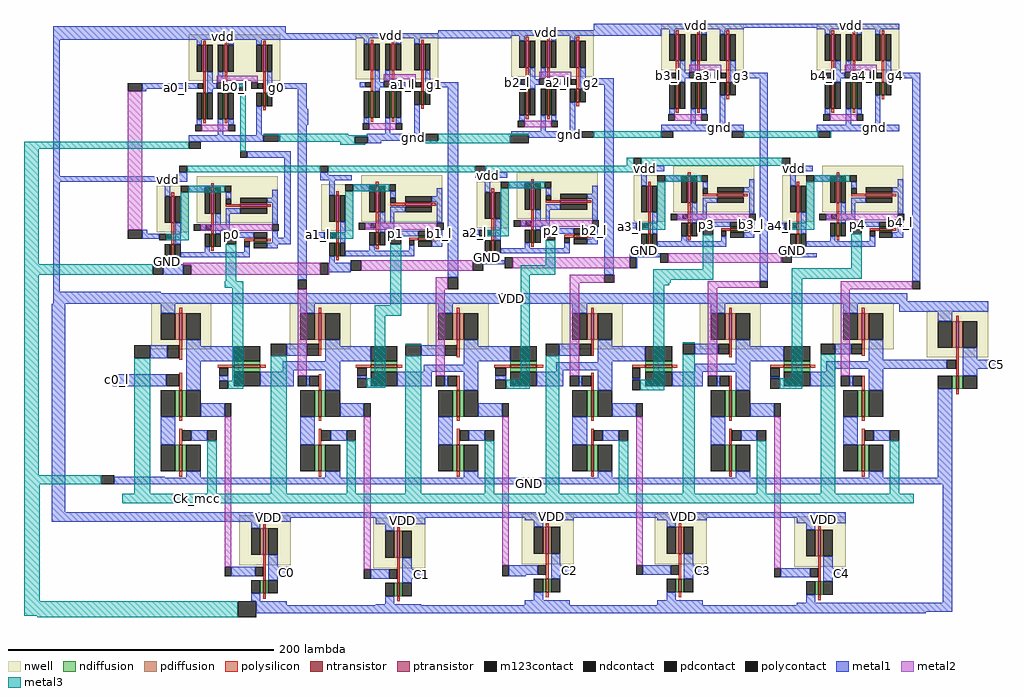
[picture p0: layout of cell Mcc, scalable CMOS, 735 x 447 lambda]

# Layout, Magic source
magic
tech scmos
<< nwell >>
rect -81 201 -12 236
rect 45 202 107 237
rect 162 204 224 239
rect 275 209 337 244
rect 392 209 454 244
rect -105 87 -81 122
rect -75 94 -14 129
rect 19 88 43 123
rect 49 95 110 130
rect 136 90 160 125
rect 166 97 227 132
rect 254 95 278 130
rect 284 102 345 137
rect 366 95 390 130
rect 396 102 457 137
rect -109 -1 -64 34
rect -5 -1 41 34
rect 99 -1 145 34
rect 200 -1 246 34
rect 304 -1 350 34
rect 404 -1 450 34
rect 475 -7 521 28
rect -43 -164 -4 -126
rect 58 -166 97 -128
rect 170 -163 209 -125
rect 270 -163 309 -125
rect 375 -165 414 -127
<< ntransistor >>
rect -70 172 -68 192
rect -54 172 -52 192
rect -25 182 -23 192
rect 56 173 58 193
rect 72 173 74 193
rect 94 183 96 193
rect 173 175 175 195
rect 189 175 191 195
rect 211 185 213 195
rect 286 180 288 200
rect 302 180 304 200
rect 324 190 326 200
rect 403 180 405 200
rect 419 180 421 200
rect 441 190 443 200
rect -94 68 -92 78
rect -64 76 -62 86
rect -32 80 -22 82
rect 30 69 32 79
rect 60 77 62 87
rect 92 81 102 83
rect 147 71 149 81
rect 177 79 179 89
rect 209 83 219 85
rect 265 76 267 86
rect 295 84 297 94
rect 327 88 337 90
rect 377 76 379 86
rect 407 84 409 94
rect 439 88 449 90
rect -47 -15 -27 -13
rect 56 -15 76 -13
rect 161 -15 181 -13
rect 263 -15 283 -13
rect 367 -15 387 -13
rect 497 -31 499 -21
rect -88 -52 -86 -32
rect 17 -52 19 -32
rect 121 -52 123 -32
rect 222 -52 224 -32
rect 326 -52 328 -32
rect 426 -52 428 -32
rect -88 -93 -86 -73
rect 17 -93 19 -73
rect 121 -93 123 -73
rect 222 -93 224 -73
rect 326 -93 328 -73
rect 426 -93 428 -73
rect -25 -185 -23 -175
rect 76 -187 78 -177
rect 188 -184 190 -174
rect 288 -184 290 -174
rect 393 -186 395 -176
<< ptransistor >>
rect -70 208 -68 228
rect -54 208 -52 228
rect -25 208 -23 228
rect 56 209 58 229
rect 72 209 74 229
rect 94 209 96 229
rect 173 211 175 231
rect 189 211 191 231
rect 211 211 213 231
rect 286 216 288 236
rect 302 216 304 236
rect 324 216 326 236
rect 403 216 405 236
rect 419 216 421 236
rect 441 216 443 236
rect -94 94 -92 114
rect -64 101 -62 121
rect -42 106 -22 108
rect 30 95 32 115
rect 60 102 62 122
rect 82 107 102 109
rect 147 97 149 117
rect 177 104 179 124
rect 199 109 219 111
rect 265 102 267 122
rect 295 109 297 129
rect 317 114 337 116
rect 377 102 379 122
rect 407 109 409 129
rect 429 114 449 116
rect -88 6 -86 26
rect 17 6 19 26
rect 121 6 123 26
rect 222 6 224 26
rect 326 6 328 26
rect 426 6 428 26
rect 497 0 499 20
rect -25 -156 -23 -136
rect 76 -158 78 -138
rect 188 -155 190 -135
rect 288 -155 290 -135
rect 393 -157 395 -137
<< ndiffusion >>
rect -71 172 -70 192
rect -68 172 -67 192
rect -55 172 -54 192
rect -52 172 -51 192
rect -26 182 -25 192
rect -23 182 -22 192
rect 55 173 56 193
rect 58 173 59 193
rect 71 173 72 193
rect 74 173 75 193
rect 93 183 94 193
rect 96 183 97 193
rect 172 175 173 195
rect 175 175 176 195
rect 188 175 189 195
rect 191 175 192 195
rect 210 185 211 195
rect 213 185 214 195
rect 285 180 286 200
rect 288 180 289 200
rect 301 180 302 200
rect 304 180 305 200
rect 323 190 324 200
rect 326 190 327 200
rect 402 180 403 200
rect 405 180 406 200
rect 418 180 419 200
rect 421 180 422 200
rect 440 190 441 200
rect 443 190 444 200
rect -95 68 -94 78
rect -92 68 -91 78
rect -65 76 -64 86
rect -62 76 -61 86
rect -32 82 -22 83
rect -32 79 -22 80
rect 29 69 30 79
rect 32 69 33 79
rect 59 77 60 87
rect 62 77 63 87
rect 92 83 102 84
rect 92 80 102 81
rect 146 71 147 81
rect 149 71 150 81
rect 176 79 177 89
rect 179 79 180 89
rect 209 85 219 86
rect 209 82 219 83
rect 264 76 265 86
rect 267 76 268 86
rect 294 84 295 94
rect 297 84 298 94
rect 327 90 337 91
rect 327 87 337 88
rect 376 76 377 86
rect 379 76 380 86
rect 406 84 407 94
rect 409 84 410 94
rect 439 90 449 91
rect 439 87 449 88
rect -47 -13 -27 -10
rect 56 -13 76 -10
rect 161 -13 181 -10
rect 263 -13 283 -10
rect 367 -13 387 -10
rect -47 -18 -27 -15
rect 56 -18 76 -15
rect 161 -18 181 -15
rect 263 -18 283 -15
rect 367 -18 387 -15
rect 494 -31 497 -21
rect 499 -31 502 -21
rect -91 -52 -88 -32
rect -86 -52 -83 -32
rect 14 -52 17 -32
rect 19 -52 22 -32
rect 118 -52 121 -32
rect 123 -52 126 -32
rect 219 -52 222 -32
rect 224 -52 227 -32
rect 323 -52 326 -32
rect 328 -52 331 -32
rect 423 -52 426 -32
rect 428 -52 431 -32
rect -91 -93 -88 -73
rect -86 -93 -83 -73
rect 14 -93 17 -73
rect 19 -93 22 -73
rect 118 -93 121 -73
rect 123 -93 126 -73
rect 219 -93 222 -73
rect 224 -93 227 -73
rect 323 -93 326 -73
rect 328 -93 331 -73
rect 423 -93 426 -73
rect 428 -93 431 -73
rect -27 -185 -25 -175
rect -23 -185 -21 -175
rect 74 -187 76 -177
rect 78 -187 80 -177
rect 186 -184 188 -174
rect 190 -184 192 -174
rect 286 -184 288 -174
rect 290 -184 292 -174
rect 391 -186 393 -176
rect 395 -186 397 -176
<< pdiffusion >>
rect -71 208 -70 228
rect -68 208 -67 228
rect -55 208 -54 228
rect -52 208 -51 228
rect -26 208 -25 228
rect -23 208 -22 228
rect 55 209 56 229
rect 58 209 59 229
rect 71 209 72 229
rect 74 209 75 229
rect 93 209 94 229
rect 96 209 97 229
rect 172 211 173 231
rect 175 211 176 231
rect 188 211 189 231
rect 191 211 192 231
rect 210 211 211 231
rect 213 211 214 231
rect 285 216 286 236
rect 288 216 289 236
rect 301 216 302 236
rect 304 216 305 236
rect 323 216 324 236
rect 326 216 327 236
rect 402 216 403 236
rect 405 216 406 236
rect 418 216 419 236
rect 421 216 422 236
rect 440 216 441 236
rect 443 216 444 236
rect -95 94 -94 114
rect -92 94 -91 114
rect -65 101 -64 121
rect -62 101 -61 121
rect -42 108 -22 109
rect -42 105 -22 106
rect 29 95 30 115
rect 32 95 33 115
rect 59 102 60 122
rect 62 102 63 122
rect 82 109 102 110
rect 82 106 102 107
rect 146 97 147 117
rect 149 97 150 117
rect 176 104 177 124
rect 179 104 180 124
rect 199 111 219 112
rect 199 108 219 109
rect 264 102 265 122
rect 267 102 268 122
rect 294 109 295 129
rect 297 109 298 129
rect 317 116 337 117
rect 317 113 337 114
rect 376 102 377 122
rect 379 102 380 122
rect 406 109 407 129
rect 409 109 410 129
rect 429 116 449 117
rect 429 113 449 114
rect -91 6 -88 26
rect -86 6 -83 26
rect 14 6 17 26
rect 19 6 22 26
rect 118 6 121 26
rect 123 6 126 26
rect 219 6 222 26
rect 224 6 227 26
rect 323 6 326 26
rect 328 6 331 26
rect 423 6 426 26
rect 428 6 431 26
rect 494 0 497 20
rect 499 0 502 20
rect -27 -156 -25 -136
rect -23 -156 -21 -136
rect 74 -158 76 -138
rect 78 -158 80 -138
rect 186 -155 188 -135
rect 190 -155 192 -135
rect 286 -155 288 -135
rect 290 -155 292 -135
rect 391 -157 393 -137
rect 395 -157 397 -137
<< ndcontact >>
rect -75 172 -71 192
rect -67 172 -63 192
rect -59 172 -55 192
rect -51 172 -47 192
rect -30 182 -26 192
rect -22 182 -18 192
rect 51 173 55 193
rect 59 173 63 193
rect 67 173 71 193
rect 75 173 79 193
rect 89 183 93 193
rect 97 183 101 193
rect 168 175 172 195
rect 176 175 180 195
rect 184 175 188 195
rect 192 175 196 195
rect 206 185 210 195
rect 214 185 218 195
rect 281 180 285 200
rect 289 180 293 200
rect 297 180 301 200
rect 305 180 309 200
rect 319 190 323 200
rect 327 190 331 200
rect 398 180 402 200
rect 406 180 410 200
rect 414 180 418 200
rect 422 180 426 200
rect 436 190 440 200
rect 444 190 448 200
rect -99 68 -95 78
rect -91 68 -87 78
rect -69 76 -65 86
rect -61 76 -57 86
rect -32 83 -22 87
rect -32 75 -22 79
rect 25 69 29 79
rect 33 69 37 79
rect 55 77 59 87
rect 63 77 67 87
rect 92 84 102 88
rect 92 76 102 80
rect 142 71 146 81
rect 150 71 154 81
rect 172 79 176 89
rect 180 79 184 89
rect 209 86 219 90
rect 209 78 219 82
rect 260 76 264 86
rect 268 76 272 86
rect 290 84 294 94
rect 298 84 302 94
rect 327 91 337 95
rect 327 83 337 87
rect 372 76 376 86
rect 380 76 384 86
rect 402 84 406 94
rect 410 84 414 94
rect 439 91 449 95
rect 439 83 449 87
rect -47 -10 -27 1
rect 56 -10 76 1
rect 161 -10 181 1
rect 263 -10 283 1
rect 367 -10 387 1
rect -47 -29 -27 -18
rect 56 -29 76 -18
rect 161 -29 181 -18
rect 263 -29 283 -18
rect 367 -29 387 -18
rect 483 -31 494 -21
rect 502 -31 513 -21
rect -102 -52 -91 -32
rect -83 -52 -72 -32
rect 3 -52 14 -32
rect 22 -52 33 -32
rect 107 -52 118 -32
rect 126 -52 137 -32
rect 208 -52 219 -32
rect 227 -52 238 -32
rect 312 -52 323 -32
rect 331 -52 342 -32
rect 412 -52 423 -32
rect 431 -52 442 -32
rect -102 -93 -91 -73
rect -83 -93 -72 -73
rect 3 -93 14 -73
rect 22 -93 33 -73
rect 107 -93 118 -73
rect 126 -93 137 -73
rect 208 -93 219 -73
rect 227 -93 238 -73
rect 312 -93 323 -73
rect 331 -93 342 -73
rect 412 -93 423 -73
rect 431 -93 442 -73
rect -34 -185 -27 -175
rect -21 -185 -14 -175
rect 67 -187 74 -177
rect 80 -187 87 -177
rect 179 -184 186 -174
rect 192 -184 199 -174
rect 279 -184 286 -174
rect 292 -184 299 -174
rect 384 -186 391 -176
rect 397 -186 404 -176
<< pdcontact >>
rect -75 208 -71 228
rect -67 208 -63 228
rect -59 208 -55 228
rect -51 208 -47 228
rect -30 208 -26 228
rect -22 208 -18 228
rect 51 209 55 229
rect 59 209 63 229
rect 67 209 71 229
rect 75 209 79 229
rect 89 209 93 229
rect 97 209 101 229
rect 168 211 172 231
rect 176 211 180 231
rect 184 211 188 231
rect 192 211 196 231
rect 206 211 210 231
rect 214 211 218 231
rect 281 216 285 236
rect 289 216 293 236
rect 297 216 301 236
rect 305 216 309 236
rect 319 216 323 236
rect 327 216 331 236
rect 398 216 402 236
rect 406 216 410 236
rect 414 216 418 236
rect 422 216 426 236
rect 436 216 440 236
rect 444 216 448 236
rect -99 94 -95 114
rect -91 94 -87 114
rect -69 101 -65 121
rect -61 101 -57 121
rect -42 109 -22 113
rect -42 101 -22 105
rect 25 95 29 115
rect 33 95 37 115
rect 55 102 59 122
rect 63 102 67 122
rect 82 110 102 114
rect 82 102 102 106
rect 142 97 146 117
rect 150 97 154 117
rect 172 104 176 124
rect 180 104 184 124
rect 199 112 219 116
rect 199 104 219 108
rect 260 102 264 122
rect 268 102 272 122
rect 290 109 294 129
rect 298 109 302 129
rect 317 117 337 121
rect 317 109 337 113
rect 372 102 376 122
rect 380 102 384 122
rect 402 109 406 129
rect 410 109 414 129
rect 429 117 449 121
rect 429 109 449 113
rect -102 6 -91 26
rect -83 6 -72 26
rect 3 6 14 26
rect 22 6 33 26
rect 107 6 118 26
rect 126 6 137 26
rect 208 6 219 26
rect 227 6 238 26
rect 312 6 323 26
rect 331 6 342 26
rect 412 6 423 26
rect 431 6 442 26
rect 483 0 494 20
rect 502 0 513 20
rect -34 -156 -27 -136
rect -21 -156 -14 -136
rect 67 -158 74 -138
rect 80 -158 87 -138
rect 179 -155 186 -135
rect 192 -155 199 -135
rect 279 -155 286 -135
rect 292 -155 299 -135
rect 384 -157 391 -137
rect 397 -157 404 -137
<< polysilicon >>
rect 286 236 288 239
rect 302 236 304 239
rect 324 236 326 239
rect 403 236 405 239
rect 419 236 421 239
rect 441 236 443 239
rect -70 228 -68 231
rect -54 228 -52 231
rect -25 228 -23 231
rect 56 229 58 232
rect 72 229 74 232
rect 94 229 96 232
rect 173 231 175 234
rect 189 231 191 234
rect 211 231 213 234
rect -70 192 -68 208
rect -54 192 -52 208
rect -25 192 -23 208
rect 56 193 58 209
rect 72 193 74 209
rect 94 193 96 209
rect 173 195 175 211
rect 189 195 191 211
rect 211 195 213 211
rect 286 200 288 216
rect 302 200 304 216
rect 324 200 326 216
rect 403 200 405 216
rect 419 200 421 216
rect 441 200 443 216
rect -25 179 -23 182
rect 94 180 96 183
rect 211 182 213 185
rect 324 187 326 190
rect 441 187 443 190
rect 286 177 288 180
rect 302 177 304 180
rect 403 177 405 180
rect 419 177 421 180
rect -70 169 -68 172
rect -54 169 -52 172
rect 56 170 58 173
rect 72 170 74 173
rect 173 172 175 175
rect 189 172 191 175
rect 295 129 297 132
rect 407 129 409 132
rect -64 121 -62 124
rect 60 122 62 125
rect 177 124 179 127
rect -94 114 -92 117
rect 30 115 32 118
rect -53 106 -42 108
rect -22 106 -19 108
rect -94 78 -92 94
rect -64 86 -62 101
rect 147 117 149 120
rect 71 107 82 109
rect 102 107 105 109
rect -39 80 -32 82
rect -22 80 -19 82
rect 30 79 32 95
rect 60 87 62 102
rect 265 122 267 125
rect 188 109 199 111
rect 219 109 222 111
rect -64 73 -62 76
rect 85 81 92 83
rect 102 81 105 83
rect 147 81 149 97
rect 177 89 179 104
rect 377 122 379 125
rect 306 114 317 116
rect 337 114 340 116
rect 60 74 62 77
rect 265 86 267 102
rect 295 94 297 109
rect 418 114 429 116
rect 449 114 452 116
rect 202 83 209 85
rect 219 83 222 85
rect 177 76 179 79
rect 320 88 327 90
rect 337 88 340 90
rect 295 81 297 84
rect 377 86 379 102
rect 407 94 409 109
rect 432 88 439 90
rect 449 88 452 90
rect 407 81 409 84
rect 265 73 267 76
rect 377 73 379 76
rect -94 65 -92 68
rect 30 66 32 69
rect 147 68 149 71
rect -88 26 -86 30
rect 17 26 19 30
rect 121 26 123 30
rect 222 26 224 30
rect 326 26 328 30
rect 426 26 428 30
rect 497 20 499 24
rect -88 -9 -86 6
rect 17 -6 19 6
rect 121 -7 123 6
rect 222 -6 224 6
rect 326 -7 328 6
rect 426 -6 428 6
rect -59 -15 -47 -13
rect -27 -15 -23 -13
rect 45 -15 56 -13
rect 76 -15 80 -13
rect 149 -15 161 -13
rect 181 -15 186 -13
rect 253 -15 263 -13
rect 283 -15 287 -13
rect 357 -15 367 -13
rect 387 -15 391 -13
rect -88 -32 -86 -19
rect 17 -32 19 -20
rect 121 -32 123 -21
rect 222 -32 224 -19
rect 326 -32 328 -21
rect 497 -21 499 0
rect 426 -32 428 -21
rect 497 -35 499 -31
rect -88 -55 -86 -52
rect 17 -55 19 -52
rect 121 -55 123 -52
rect 222 -55 224 -52
rect 326 -55 328 -52
rect 426 -55 428 -52
rect -88 -73 -86 -61
rect 17 -73 19 -61
rect 121 -73 123 -61
rect 222 -73 224 -61
rect 326 -73 328 -61
rect 426 -73 428 -61
rect -88 -97 -86 -93
rect 17 -97 19 -93
rect 121 -97 123 -93
rect 222 -97 224 -93
rect 326 -97 328 -93
rect 426 -97 428 -93
rect -25 -136 -23 -133
rect 188 -135 190 -132
rect 288 -135 290 -132
rect 76 -138 78 -135
rect -25 -175 -23 -156
rect 393 -137 395 -134
rect 76 -177 78 -158
rect 188 -174 190 -155
rect 288 -174 290 -155
rect -25 -189 -23 -185
rect 393 -176 395 -157
rect 76 -191 78 -187
rect 188 -188 190 -184
rect 288 -188 290 -184
rect 393 -190 395 -186
<< polycontact >>
rect -74 195 -70 199
rect -52 195 -48 199
rect -29 195 -25 199
rect 52 196 56 200
rect 74 196 78 200
rect 90 196 94 200
rect 169 198 173 202
rect 191 198 195 202
rect 207 198 211 202
rect 282 203 286 207
rect 304 203 308 207
rect 320 203 324 207
rect 399 203 403 207
rect 421 203 425 207
rect 437 203 441 207
rect -53 108 -49 112
rect -98 82 -94 86
rect -68 89 -64 93
rect 71 109 75 113
rect 26 83 30 87
rect -39 76 -35 80
rect 56 90 60 94
rect 188 111 192 115
rect 143 85 147 89
rect 173 92 177 96
rect 306 116 310 120
rect 261 90 265 94
rect 85 77 89 81
rect 291 97 295 101
rect 418 116 422 120
rect 202 79 206 83
rect 373 90 377 94
rect 320 84 324 88
rect 403 97 407 101
rect 432 84 436 88
rect -97 -8 -88 2
rect 8 -6 17 3
rect 112 -6 121 2
rect 213 -6 222 3
rect 318 -5 326 3
rect 418 -5 426 3
rect -98 -29 -88 -20
rect -58 -21 -51 -15
rect 10 -29 17 -21
rect 46 -21 53 -15
rect 150 -21 158 -15
rect 114 -29 121 -21
rect 215 -29 222 -21
rect 253 -23 259 -15
rect 319 -29 326 -21
rect 357 -22 364 -15
rect 490 -16 497 -9
rect 419 -29 426 -21
rect -86 -70 -79 -62
rect 19 -70 26 -62
rect 123 -70 130 -62
rect 224 -70 231 -62
rect 328 -70 335 -62
rect 428 -70 435 -62
rect -31 -172 -25 -165
rect 70 -174 76 -167
rect 182 -171 188 -164
rect 282 -171 288 -164
rect 387 -173 393 -166
<< metal1 >>
rect -183 237 -8 242
rect 224 241 454 244
rect 224 240 337 241
rect 392 240 454 241
rect 224 239 275 240
rect 107 237 275 239
rect -183 235 275 237
rect 281 236 285 240
rect 305 236 309 240
rect -183 233 162 235
rect -183 232 45 233
rect -183 129 -178 232
rect -75 228 -71 232
rect -51 228 -47 232
rect -67 199 -63 208
rect -30 228 -26 232
rect 51 229 55 233
rect 75 229 79 233
rect -59 200 -55 208
rect -116 195 -74 199
rect -67 195 -60 199
rect -48 196 -38 199
rect -48 195 -43 196
rect -116 193 -113 195
rect -67 192 -63 195
rect -75 168 -71 172
rect -59 160 -55 172
rect -22 199 -18 208
rect 59 200 63 209
rect 89 229 93 233
rect 168 231 172 235
rect 192 231 196 235
rect 67 201 71 209
rect -22 195 8 199
rect 48 196 52 200
rect 59 196 66 200
rect 78 196 82 200
rect 97 200 101 209
rect 176 202 180 211
rect 206 231 210 235
rect 184 203 188 211
rect 214 203 218 211
rect 289 207 293 216
rect 319 236 323 240
rect 398 236 402 240
rect 422 236 426 240
rect 297 208 301 216
rect 278 203 282 207
rect 289 203 296 207
rect 308 203 312 207
rect 327 207 331 216
rect 406 207 410 216
rect 436 236 440 240
rect 414 208 418 216
rect 327 203 355 207
rect 395 203 399 207
rect 406 203 413 207
rect 425 203 429 207
rect 444 207 448 216
rect 444 203 470 207
rect 97 196 122 200
rect 165 198 169 202
rect 176 198 183 202
rect 195 198 199 202
rect 214 198 239 203
rect 289 200 293 203
rect 327 200 331 203
rect -22 192 -18 195
rect -43 190 -38 191
rect -51 168 -47 172
rect -30 160 -26 182
rect 1 180 8 195
rect 59 193 63 196
rect 97 193 101 196
rect 1 168 9 180
rect 51 169 55 173
rect -81 155 -25 160
rect -13 155 -12 160
rect -37 143 -4 148
rect -88 129 -82 132
rect -183 125 -82 129
rect -183 42 -178 125
rect -99 114 -95 125
rect -81 121 -65 122
rect -81 117 -69 121
rect -53 112 -49 117
rect -18 113 -14 119
rect -22 109 -14 113
rect -116 86 -112 89
rect -116 82 -103 86
rect -91 78 -87 94
rect -61 93 -57 101
rect -53 101 -42 105
rect -53 93 -50 101
rect -72 89 -68 93
rect -61 89 -50 93
rect -61 86 -57 89
rect -53 87 -50 89
rect -18 93 -14 109
rect -53 83 -32 87
rect -18 83 -14 88
rect -9 83 -4 143
rect -18 79 -4 83
rect -69 72 -65 76
rect -39 72 -35 76
rect -22 78 -4 79
rect -22 75 -14 78
rect -87 68 -35 72
rect -99 63 -95 68
rect -100 62 -79 63
rect -100 55 -85 62
rect 1 51 8 168
rect 67 161 71 173
rect 75 169 79 173
rect 89 161 93 183
rect 53 160 97 161
rect 45 159 97 160
rect 54 156 97 159
rect 54 154 64 156
rect 18 130 24 132
rect 18 126 42 130
rect 25 115 29 126
rect 43 122 59 123
rect 43 118 55 122
rect 71 113 75 118
rect 106 114 110 120
rect 102 110 110 114
rect 14 83 21 87
rect 33 79 37 95
rect 63 94 67 102
rect 71 102 82 106
rect 71 94 74 102
rect 52 90 56 94
rect 63 90 74 94
rect 63 87 67 90
rect 71 88 74 90
rect 106 94 110 110
rect 71 84 92 88
rect 71 83 79 84
rect 106 80 110 89
rect 55 73 59 77
rect 85 73 89 77
rect 102 76 110 80
rect 37 69 89 73
rect 25 64 29 69
rect 24 57 41 64
rect 114 53 122 196
rect 176 195 180 198
rect 214 195 218 198
rect 168 171 172 175
rect 184 163 188 175
rect 192 171 196 175
rect 206 163 210 185
rect 162 160 215 163
rect 175 158 215 160
rect 142 132 143 137
rect 135 128 159 132
rect 142 117 146 128
rect 160 124 176 125
rect 160 120 172 124
rect 188 115 192 120
rect 223 116 227 122
rect 219 112 227 116
rect 131 85 138 89
rect 150 81 154 97
rect 180 96 184 104
rect 188 104 199 108
rect 188 96 191 104
rect 169 92 173 96
rect 180 92 191 96
rect 180 89 184 92
rect 188 90 191 92
rect 223 96 227 112
rect 188 86 209 90
rect 223 82 227 91
rect 172 75 176 79
rect 202 75 206 79
rect 219 78 227 82
rect 154 71 206 75
rect 142 66 146 71
rect 141 63 157 66
rect 232 55 239 198
rect 281 176 285 180
rect 297 168 301 180
rect 305 176 309 180
rect 319 168 323 190
rect 275 163 337 168
rect 260 133 277 137
rect 260 122 264 133
rect 278 129 294 130
rect 278 125 290 129
rect 306 120 310 125
rect 341 121 345 127
rect 337 117 345 121
rect 249 90 256 94
rect 268 86 272 102
rect 298 101 302 109
rect 306 109 317 113
rect 306 101 309 109
rect 287 97 291 101
rect 298 97 309 101
rect 298 94 302 97
rect 306 95 309 97
rect 341 101 345 117
rect 306 91 327 95
rect 341 87 345 96
rect 290 80 294 84
rect 320 80 324 84
rect 337 83 345 87
rect 272 76 324 80
rect 260 71 264 76
rect 251 68 274 71
rect 256 60 257 68
rect 349 50 355 203
rect 406 200 410 203
rect 444 200 448 203
rect 398 176 402 180
rect 414 168 418 180
rect 422 176 426 180
rect 436 168 440 190
rect 392 163 454 168
rect 372 133 389 137
rect 372 122 376 133
rect 390 129 406 130
rect 390 125 402 129
rect 418 120 422 125
rect 453 121 457 127
rect 449 117 457 121
rect 361 90 368 94
rect 380 86 384 102
rect 410 101 414 109
rect 418 109 429 113
rect 418 101 421 109
rect 399 97 403 101
rect 410 97 421 101
rect 410 94 414 97
rect 418 95 421 97
rect 453 101 457 117
rect 418 91 439 95
rect 453 87 457 96
rect 402 80 406 84
rect 432 80 436 84
rect 449 83 457 87
rect 384 76 436 80
rect 372 71 376 76
rect 365 64 366 71
rect 373 68 392 71
rect 464 50 470 203
rect -183 41 -102 42
rect -183 35 460 41
rect -183 33 521 35
rect -184 -124 -174 33
rect -102 26 -91 33
rect 3 26 14 33
rect 107 26 118 33
rect 208 26 219 33
rect 312 26 323 33
rect 412 26 423 33
rect 454 27 521 33
rect -110 -8 -97 2
rect -83 1 -72 6
rect -83 -10 -47 1
rect -7 -6 8 3
rect 22 1 33 6
rect 22 -10 56 1
rect 94 -6 112 2
rect 126 1 137 6
rect 126 -10 161 1
rect 198 -6 213 3
rect 227 1 238 6
rect 227 -10 263 1
rect 300 -5 318 3
rect 331 1 342 6
rect 331 -10 367 1
rect 406 -5 418 3
rect 431 -9 442 6
rect 483 20 494 27
rect 502 -9 513 0
rect 431 -10 490 -9
rect -138 -29 -98 -20
rect -83 -32 -72 -10
rect -10 -17 33 -10
rect 126 -13 137 -10
rect 227 -11 238 -10
rect -10 -18 -2 -17
rect -58 -25 -51 -21
rect -27 -29 -2 -18
rect 8 -29 10 -21
rect 22 -32 33 -17
rect 96 -18 137 -13
rect 46 -23 53 -21
rect 76 -29 102 -18
rect 112 -29 114 -21
rect 126 -32 137 -18
rect 196 -17 238 -11
rect 331 -12 342 -10
rect 196 -18 201 -17
rect 150 -24 158 -21
rect 181 -29 201 -18
rect 213 -29 215 -21
rect 227 -32 238 -17
rect 300 -18 342 -12
rect 253 -24 259 -23
rect 283 -29 306 -18
rect 317 -29 319 -21
rect 331 -32 342 -18
rect 399 -16 490 -10
rect 502 -16 530 -9
rect 399 -18 406 -16
rect 357 -23 364 -22
rect 387 -29 406 -18
rect 417 -29 419 -21
rect 431 -32 442 -16
rect 502 -21 513 -16
rect -72 -52 -54 -42
rect 33 -52 51 -42
rect 137 -52 155 -42
rect 238 -52 256 -42
rect 342 -52 360 -42
rect -102 -73 -91 -52
rect -79 -70 -67 -62
rect 3 -73 14 -52
rect 26 -70 38 -62
rect 107 -73 118 -52
rect 130 -70 142 -62
rect 208 -73 219 -52
rect 231 -70 243 -62
rect 312 -73 323 -52
rect 335 -70 347 -62
rect 412 -73 423 -52
rect 435 -70 447 -62
rect -137 -98 -99 -97
rect -83 -98 -72 -93
rect 22 -98 33 -93
rect 126 -98 137 -93
rect 227 -98 238 -93
rect 331 -98 342 -93
rect 431 -98 442 -93
rect 483 -98 494 -31
rect -137 -103 494 -98
rect -184 -128 414 -124
rect -184 -131 -4 -128
rect -34 -136 -27 -131
rect 60 -133 97 -128
rect 172 -130 209 -128
rect 272 -130 309 -128
rect -21 -165 -14 -156
rect 67 -138 74 -133
rect 179 -135 186 -130
rect 279 -135 286 -130
rect 377 -132 414 -128
rect -49 -172 -31 -165
rect -21 -172 -4 -165
rect 80 -167 87 -158
rect 192 -164 199 -155
rect 292 -164 299 -155
rect 384 -137 391 -132
rect -21 -175 -14 -172
rect 56 -174 70 -167
rect 80 -174 97 -167
rect 160 -171 182 -164
rect 192 -171 209 -164
rect 261 -171 282 -164
rect 292 -171 309 -164
rect 397 -166 404 -157
rect 160 -172 173 -171
rect 192 -174 199 -171
rect 292 -174 299 -171
rect 365 -173 387 -166
rect 397 -173 414 -166
rect 80 -177 87 -174
rect -34 -191 -27 -185
rect 397 -176 404 -173
rect -30 -194 -7 -191
rect 67 -193 74 -187
rect 179 -190 186 -184
rect 279 -190 286 -184
rect 60 -194 94 -193
rect 172 -194 206 -190
rect 272 -194 306 -190
rect 384 -192 391 -186
rect 487 -192 494 -103
rect 377 -194 494 -192
rect -30 -199 494 -194
rect -30 -200 474 -199
<< metal2 >>
rect 296 209 320 213
rect 296 208 301 209
rect -60 201 -29 205
rect -60 200 -55 201
rect -34 200 -29 201
rect -127 89 -116 193
rect 66 202 90 206
rect 66 201 71 202
rect 85 201 90 202
rect 183 204 207 208
rect 183 203 188 204
rect 202 203 207 204
rect 315 208 320 209
rect 413 209 437 213
rect 413 208 418 209
rect 432 208 437 209
rect 285 171 305 176
rect 402 171 422 176
rect -71 163 -51 168
rect 55 164 75 169
rect 172 166 192 171
rect 287 96 341 101
rect 399 96 453 101
rect -72 88 -18 93
rect 52 89 106 94
rect 169 91 223 96
rect -85 62 18 64
rect -79 55 18 62
rect 24 55 25 64
rect 49 58 133 66
rect 163 60 251 68
rect 280 64 366 71
rect 1 -21 8 44
rect 105 44 114 53
rect 206 49 232 55
rect 239 49 240 55
rect 105 -21 112 44
rect 206 -21 213 49
rect 310 45 349 50
rect 310 -21 317 45
rect 410 44 464 50
rect 410 -21 417 44
rect -54 -165 -49 -52
rect 51 -167 56 -52
rect 155 -164 160 -52
rect 256 -164 261 -52
rect 360 -166 365 -52
<< m123contact >>
rect -127 193 -116 199
rect -60 195 -55 200
rect -43 191 -38 196
rect -34 195 -29 200
rect 66 196 71 201
rect 85 196 90 201
rect 183 198 188 203
rect 296 203 301 208
rect 315 203 320 208
rect 413 203 418 208
rect 432 203 437 208
rect 202 198 207 203
rect 280 171 285 176
rect 305 171 310 176
rect 397 171 402 176
rect 422 171 427 176
rect -76 163 -71 168
rect -51 163 -46 168
rect 50 164 55 169
rect 75 164 80 169
rect 167 166 172 171
rect 192 166 197 171
rect -25 155 -13 160
rect -81 150 -72 155
rect 44 154 54 159
rect 97 156 107 161
rect 161 154 175 160
rect 215 158 224 163
rect 275 158 284 163
rect 328 158 337 163
rect 393 158 402 163
rect -42 143 -37 148
rect -88 132 -82 137
rect 18 132 24 137
rect 135 132 142 137
rect 254 133 260 143
rect 366 133 372 143
rect 272 125 278 130
rect 305 125 310 130
rect 384 125 390 130
rect 417 125 422 130
rect -87 117 -81 122
rect -54 117 -49 122
rect 37 118 43 123
rect 70 118 75 123
rect 154 120 160 125
rect 187 120 192 125
rect 282 96 287 101
rect 341 96 346 101
rect 394 96 399 101
rect 453 96 458 101
rect -127 82 -116 89
rect -77 88 -72 93
rect -18 88 -13 93
rect 47 89 52 94
rect 106 89 111 94
rect 164 91 169 96
rect 223 91 228 96
rect 256 89 261 94
rect -103 81 -98 86
rect -53 78 -45 83
rect 21 82 26 87
rect 138 84 143 89
rect 71 78 79 83
rect 188 81 195 86
rect 306 85 314 91
rect 368 89 373 94
rect 418 86 426 91
rect -108 55 -100 63
rect -85 55 -79 62
rect 18 55 24 64
rect 41 58 49 66
rect 133 58 141 66
rect 157 60 163 68
rect 251 60 256 68
rect 274 64 280 71
rect 366 64 373 71
rect 1 44 8 51
rect -122 -8 -110 2
rect -19 -6 -7 3
rect 114 44 122 53
rect 232 49 239 55
rect 82 -6 94 2
rect -58 -31 -51 -25
rect 1 -29 8 -21
rect 188 -6 198 3
rect 46 -30 53 -23
rect 105 -29 112 -21
rect 349 45 355 50
rect 291 -5 300 3
rect 150 -31 158 -24
rect 206 -29 213 -21
rect 464 44 470 50
rect 395 -5 406 3
rect 253 -32 259 -24
rect 310 -29 317 -21
rect 357 -31 364 -23
rect 410 -29 417 -21
rect -54 -52 -49 -42
rect -67 -70 -60 -62
rect -147 -103 -137 -96
rect 51 -52 56 -42
rect 38 -70 45 -62
rect -54 -172 -49 -165
rect 155 -52 160 -42
rect 142 -70 149 -62
rect 51 -174 56 -167
rect 256 -52 261 -42
rect 243 -70 250 -62
rect 155 -172 160 -164
rect 360 -52 365 -42
rect 347 -70 354 -62
rect 256 -171 261 -164
rect 447 -70 454 -62
rect 360 -173 365 -166
rect -44 -203 -30 -191
<< metal3 >>
rect -43 196 -38 199
rect -43 190 -38 191
rect -205 150 -81 155
rect -205 63 -194 150
rect -42 148 -38 190
rect -25 160 39 161
rect -13 159 54 160
rect -13 155 44 159
rect 33 154 44 155
rect 107 160 175 161
rect 107 156 161 160
rect 97 154 161 156
rect 224 158 275 163
rect 337 158 393 163
rect 402 158 403 163
rect 33 153 52 154
rect 249 137 254 143
rect -82 132 18 137
rect 24 132 135 137
rect 142 133 254 137
rect 260 137 366 143
rect 260 133 261 137
rect 142 132 261 133
rect 278 125 305 130
rect 390 125 417 130
rect -81 117 -54 122
rect 43 118 70 123
rect 160 120 187 125
rect -87 86 -81 117
rect 37 87 43 118
rect 154 89 160 120
rect 272 94 278 125
rect 384 94 390 125
rect 261 89 278 94
rect -98 81 -81 86
rect 26 82 43 87
rect 143 84 160 89
rect -205 55 -108 63
rect -205 -96 -194 55
rect -53 50 -45 78
rect -54 45 -40 50
rect -205 -103 -147 -96
rect -205 -191 -193 -103
rect -122 -110 -110 -8
rect -48 -25 -40 45
rect 71 32 79 78
rect 188 62 195 81
rect 373 89 390 94
rect 169 55 195 62
rect 306 59 314 85
rect 418 60 426 86
rect 59 24 79 32
rect -51 -31 -40 -25
rect -67 -110 -60 -70
rect -19 -110 -7 -6
rect 59 -23 67 24
rect 53 -30 67 -23
rect 82 2 94 3
rect 38 -110 45 -70
rect 82 -110 94 -6
rect 169 -24 176 55
rect 269 51 314 59
rect 373 52 426 60
rect 269 49 282 51
rect 269 47 281 49
rect 158 -31 176 -24
rect 142 -110 149 -70
rect 188 -110 198 -6
rect 269 -24 277 47
rect 259 -32 277 -24
rect 291 3 300 4
rect 243 -110 250 -70
rect 291 -110 300 -5
rect 373 -23 381 52
rect 364 -31 381 -23
rect 347 -110 354 -70
rect 395 -110 406 -5
rect 447 -110 454 -70
rect -131 -117 465 -110
rect -205 -202 -44 -191
rect -195 -203 -44 -202
<< labels >>
rlabel metal1 176 -102 176 -102 1 GND
rlabel metal1 71 235 72 236 5 vdd
rlabel metal1 88 158 89 159 1 gnd
rlabel metal1 145 130 145 130 5 vdd
rlabel metal1 144 68 144 68 1 GND
rlabel metal1 188 237 189 238 5 vdd
rlabel metal1 205 160 206 161 1 gnd
rlabel metal1 301 242 302 243 5 vdd
rlabel metal1 318 165 319 166 1 gnd
rlabel metal1 375 135 375 135 5 vdd
rlabel metal1 374 73 374 73 1 GND
rlabel metal1 418 242 419 243 5 vdd
rlabel metal1 435 165 436 166 1 gnd
rlabel metal1 80 198 80 198 1 a1_l
rlabel metal1 167 200 167 200 1 b2_l
rlabel metal1 197 200 197 200 1 a2_l
rlabel metal1 280 205 280 205 1 b3_l
rlabel metal1 310 205 310 205 1 a3_l
rlabel metal1 397 205 397 205 1 b4_l
rlabel metal1 427 205 427 205 1 a4_l
rlabel metal1 -15 196 -15 196 1 g0
rlabel metal1 104 198 104 198 1 g1
rlabel metal1 222 200 222 200 1 g2
rlabel metal1 335 205 335 205 1 g3
rlabel metal1 451 205 451 205 1 g4
rlabel metal1 364 92 364 92 1 a4_l
rlabel metal1 455 94 455 94 1 b4_l
rlabel metal1 423 93 423 93 1 p4
rlabel metal1 134 87 134 87 1 a2_l
rlabel metal1 225 88 225 88 1 b2_l
rlabel metal1 192 88 192 88 1 p2
rlabel metal1 16 85 16 85 1 a1_l
rlabel metal1 108 86 108 86 1 b1_l
rlabel metal1 75 86 75 86 1 p1
rlabel metal3 -77 -117 -72 -110 1 Ck_mcc
rlabel metal1 263 135 263 135 5 vdd
rlabel metal1 262 73 262 73 1 GND
rlabel metal1 251 91 251 91 1 a3_l
rlabel metal1 343 93 343 93 1 b3_l
rlabel metal1 309 93 309 93 1 p3
rlabel metal1 -135 -24 -135 -24 3 c0_l
rlabel metal1 -21 -128 -21 -128 5 VDD
rlabel metal1 80 -130 80 -130 5 VDD
rlabel metal1 192 -127 192 -127 5 VDD
rlabel metal1 292 -127 292 -127 5 VDD
rlabel metal1 397 -129 397 -129 5 VDD
rlabel metal1 -7 -169 -7 -169 1 C0
rlabel metal1 94 -171 94 -171 1 C1
rlabel metal1 206 -168 206 -168 1 C2
rlabel metal1 306 -168 306 -168 1 C3
rlabel metal1 411 -170 411 -170 1 C4
rlabel metal1 527 -13 527 -13 7 C5
rlabel metal1 -55 234 -54 235 5 vdd
rlabel metal1 -96 127 -96 127 5 vdd
rlabel metal1 -97 65 -97 65 1 GND
rlabel metal1 -49 85 -49 85 1 p0
rlabel metal1 -91 196 -91 196 1 a0_l
rlabel metal1 -46 197 -46 197 1 b0_l
rlabel metal1 162 37 162 37 1 VDD
<< end >>
